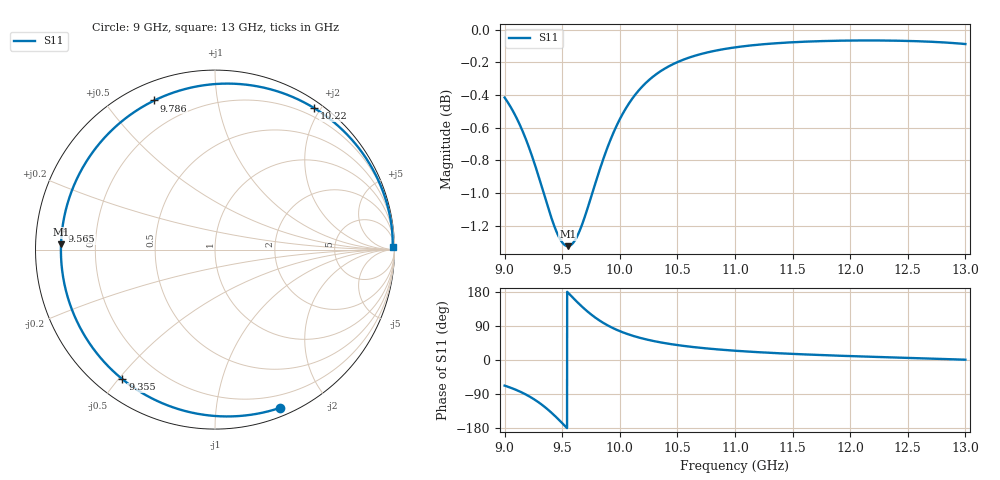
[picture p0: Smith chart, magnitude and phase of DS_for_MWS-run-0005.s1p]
! TOUCHSTONE file generated by CST DESIGN STUDIO
! Date and time: Tue Feb  4 14:00:14 2025
! Project name: C:\Work\MatlabApps\UnitCellOptimizationMatlab\CST\unitcell.cst
! Tree item: Tasks\Sweep1\SPara1\S-Parameters
! Header version: 2024
! Port assignment regex: !\s*Touchstone port\s*([0-9]+)\s*=\s*(CST MWS port|CST DES external port|CST DES block port)\s*(.+)\s* \(\"(.*)\"\)(\s*mode\s*([0-9]+))?.*
! Touchstone port assignment:
! Touchstone port 1 = CST DES external port 1 ("")
# GHz S MA R 50
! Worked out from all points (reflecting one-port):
!   4001 points, 9 GHz to 13 GHz, reference 50 ohm
!   lowest |S11| = -1.3 dB at 9.549 GHz (marker M1), VSWR 13.14, Z = 3.81 + j0.853 ohm
!   phase of S11 starts at -68 deg and turns -292 deg over the sweep
!   S11 on the Smith chart (normalised r, x): 9 GHz: 0.08, -1.49; 9.355 GHz: 0.08, -0.51; 9.565 GHz: 0.08, +0.06; 9.786 GHz: 0.08, +0.67; 10.22 GHz: 0.09, +1.92; 13 GHz: open
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9  0.9534 -67.6
9.036  0.9491 -71.3
9.1  0.9403 -78.9
9.21  0.9207 -95.3
9.286  0.904 -109.7
9.355  0.8875 -125.5
9.424  0.8722 -143.9
9.464  0.8652 -155.6
9.5  0.8608 -166.6
9.549  0.8586 178.0
9.565  0.8588 173.0
9.62  0.8632 156.0
9.681  0.8734 138.3
9.733  0.8847 124.6
9.786  0.8971 112.2
9.832  0.9076 102.6
9.881  0.918 93.6
10  0.9389 76.2
10.105  0.9523 64.7
10.221  0.9629 54.9
10.35  0.971 46.7
10.5  0.9775 39.4
10.721  0.9834 31.5
11  0.9877 24.5
11.5  0.9913 16.1
12  0.9925 10.3
12.5  0.9922 5.6
13  0.99 0.8
